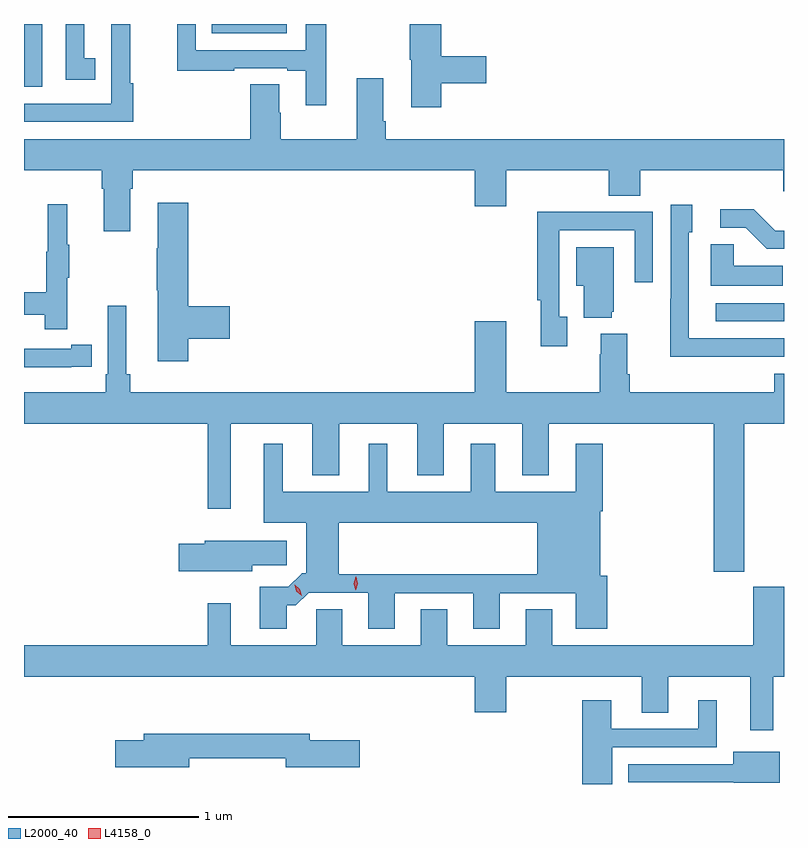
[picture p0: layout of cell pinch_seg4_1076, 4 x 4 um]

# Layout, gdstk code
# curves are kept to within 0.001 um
import gdstk
lib = gdstk.Library(unit=1e-6, precision=1e-09)
def R(c, l, rs):  # rectangles x0, y0, x1, y1
    for r in rs: c.add(gdstk.rectangle(r[:2], r[2:], *l))
def P(c, l, *ps):  # polygons
    for p in ps: c.add(gdstk.Polygon(p, *l))
L2000_40 = (2000, 40)
L4158_0 = (4158, 0)

pinch_seg4_1076 = lib.new_cell('pinch_seg4_1076')
R(pinch_seg4_1076, L2000_40, [(549.891,802.686,550.251,802.782), (546.251,803.922,546.348,804.251), (547.24,804.203,547.633,804.251)])
P(pinch_seg4_1076, L2000_40, [(546.626,804.071),(546.568,804.071),(546.568,804.251),(546.471,804.251),(546.471,803.958),(546.626,803.958)],
  [(548.447,803.938),(548.683,803.938),(548.683,804.08),(548.447,804.08),(548.447,804.251),(548.281,804.251),(548.281,804.063),(548.288,804.063),(548.288,803.814),(548.447,803.814)],
  [(546.827,803.939),(546.81,803.939),(546.81,804.251),(546.71,804.251),(546.71,804.16),(546.711,804.16),(546.711,803.832),(546.251,803.832),(546.251,803.736),(546.827,803.736)],
  [(547.843,804.251),(547.734,804.251),(547.734,804.114),(547.155,804.114),(547.155,804.251),(547.057,804.251),(547.057,804.006),(547.358,804.006),(547.358,804.018),(547.637,804.018),(547.637,804.006),(547.733,804.006),(547.733,803.823),(547.843,803.823)],
  [(546.811,803.384),(546.824,803.384),(546.824,803.48),(548.624,803.48),(548.624,803.292),(548.788,803.292),(548.788,803.48),(549.329,803.48),(549.329,803.347),(549.494,803.347),(549.494,803.48),(550.247,803.48),(550.247,803.371),(550.251,803.371),(550.251,803.644),(548.156,803.644),(548.156,803.74),(548.143,803.74),(548.143,803.965),(548.003,803.965),(548.003,803.644),(547.602,803.644),(547.602,803.783),(547.594,803.783),(547.594,803.933),(547.442,803.933),(547.442,803.644),(546.251,803.644),(546.251,803.48),(546.659,803.48),(546.659,803.384),(546.671,803.384),(546.671,803.16),(546.811,803.16)],
  [(547.115,802.595),(547.333,802.595),(547.333,802.766),(547.115,802.766),(547.115,803.311),(546.956,803.311),(546.956,803.072),(546.949,803.072),(546.949,802.849),(546.956,802.849),(546.956,802.476),(547.115,802.476)],
  [(546.479,802.915),(546.49,802.915),(546.49,803.089),(546.479,803.089),(546.479,803.302),(546.376,803.302),(546.376,803.052),(546.369,803.052),(546.369,802.838),(546.251,802.838),(546.251,802.722),(546.361,802.722),(546.361,802.644),(546.479,802.644)],
  [(550.115,802.5),(550.251,802.5),(550.251,802.596),(549.75,802.596),(549.75,803.154),(549.769,803.154),(549.769,803.299),(549.654,803.299),(549.654,802.805),(549.652,802.805),(549.652,802.499),(550.115,802.499)],
  [(550.251,803.163),(550.206,803.163),(550.093,803.276),(549.915,803.276),(549.915,803.178),(550.049,803.178),(550.16,803.067),(550.251,803.067)],
  [(549.109,802.71),(549.069,802.71),(549.069,803.166),(549.465,803.166),(549.465,802.893),(549.561,802.893),(549.561,803.262),(549.245,803.262),(549.245,803.264),(548.953,803.264),(548.953,802.798),(548.972,802.798),(548.972,802.554),(549.109,802.554)],
  [(550.244,802.978),(549.987,802.978),(549.987,803.093),(549.866,803.093),(549.866,802.874),(550.244,802.874)],
  [(549.344,802.737),(549.355,802.737),(549.355,803.077),(549.158,803.077),(549.158,802.874),(549.197,802.874),(549.197,802.706),(549.344,802.706)],
  [(548.624,802.687),(548.624,802.312),(546.809,802.312),(546.809,802.408),(546.79,802.408),(546.79,802.768),(546.693,802.768),(546.693,802.408),(546.68,802.408),(546.68,802.312),(546.251,802.312),(546.251,802.148),(547.218,802.148),(547.218,801.699),(547.339,801.699),(547.339,802.148),(547.769,802.148),(547.769,801.875),(547.909,801.875),(547.909,802.148),(548.321,802.148),(548.321,801.875),(548.461,801.875),(548.461,802.148),(548.873,802.148),(548.873,801.875),(549.013,801.875),(549.013,802.148),(549.881,802.148),(549.881,801.369),(550.041,801.369),(550.041,802.148),(550.251,802.148),(550.251,802.411),(550.199,802.411),(550.199,802.312),(549.44,802.312),(549.44,802.408),(549.427,802.408),(549.427,802.621),(549.287,802.621),(549.287,802.514),(549.28,802.514),(549.28,802.312),(548.788,802.312),(548.788,802.687)],
  [(546.5,802.446),(546.608,802.446),(546.608,802.562),(546.5,802.562),(546.5,802.542),(546.251,802.542),(546.251,802.445),(546.5,802.445)],
  [(547.493,801.289),(547.493,801.069),(547.633,801.069),(547.633,801.191),(547.682,801.191),(547.749,801.258),(548.063,801.258),(548.063,801.069),(548.203,801.069),(548.203,801.255),(548.615,801.255),(548.615,801.069),(548.755,801.069),(548.755,801.255),(549.155,801.255),(549.155,801.069),(549.32,801.069),(549.32,801.348),(549.283,801.348),(549.283,801.686),(549.296,801.686),(549.296,802.042),(549.155,802.042),(549.155,801.79),(548.731,801.79),(548.731,802.042),(548.603,802.042),(548.603,801.79),(548.164,801.79),(548.164,802.042),(548.066,802.042),(548.066,801.79),(547.612,801.79),(547.612,802.042),(547.514,802.042),(547.514,801.626),(547.736,801.626),(547.736,801.359),(547.712,801.359),(547.709,801.356),(547.907,801.356),(547.907,801.626),(548.951,801.626),(548.951,801.356),(547.709,801.356),(547.642,801.289)],
  [(547.453,801.403),(547.633,801.403),(547.633,801.532),(547.202,801.532),(547.202,801.515),(547.065,801.515),(547.065,801.371),(547.453,801.371)],
  [(550.195,800.816),(550.251,800.816),(550.251,801.289),(550.088,801.289),(550.088,800.98),(549.031,800.98),(549.031,801.17),(548.891,801.17),(548.891,800.98),(548.479,800.98),(548.479,801.17),(548.339,801.17),(548.339,800.98),(547.927,800.98),(547.927,801.17),(547.788,801.17),(547.788,800.98),(547.339,800.98),(547.339,801.202),(547.218,801.202),(547.218,800.98),(546.251,800.98),(546.251,800.816),(548.624,800.816),(548.624,800.628),(548.788,800.628),(548.788,800.816),(549.503,800.816),(549.503,800.626),(549.643,800.626),(549.643,800.816),(550.073,800.816),(550.073,800.535),(550.195,800.535)],
  [(549.346,800.445),(549.898,800.445),(549.898,800.692),(549.8,800.692),(549.8,800.541),(549.343,800.541),(549.343,800.692),(549.188,800.692),(549.188,800.251),(549.346,800.251)],
  [(547.12,800.386),(547.628,800.386),(547.628,800.339),(548.017,800.339),(548.017,800.481),(547.756,800.481),(547.756,800.515),(546.881,800.515),(546.881,800.481),(546.732,800.481),(546.732,800.339),(547.12,800.339)],
  [(550.228,800.422),(549.983,800.422),(549.983,800.355),(549.431,800.355),(549.431,800.259),(549.987,800.259),(549.987,800.258),(550.228,800.258)])
P(pinch_seg4_1076, L4158_0, [(547.996,801.27),(547.996,801.27),(547.987,801.306),(547.998,801.341),(547.999,801.341),(547.999,801.341),(548.007,801.305),(547.996,801.27)],
  [(547.712,801.242),(547.685,801.265),(547.675,801.3),(547.675,801.3),(547.675,801.3),(547.702,801.276),(547.713,801.242),(547.713,801.242)])

lib.write_gds('pinch_seg4_1076.gds')
